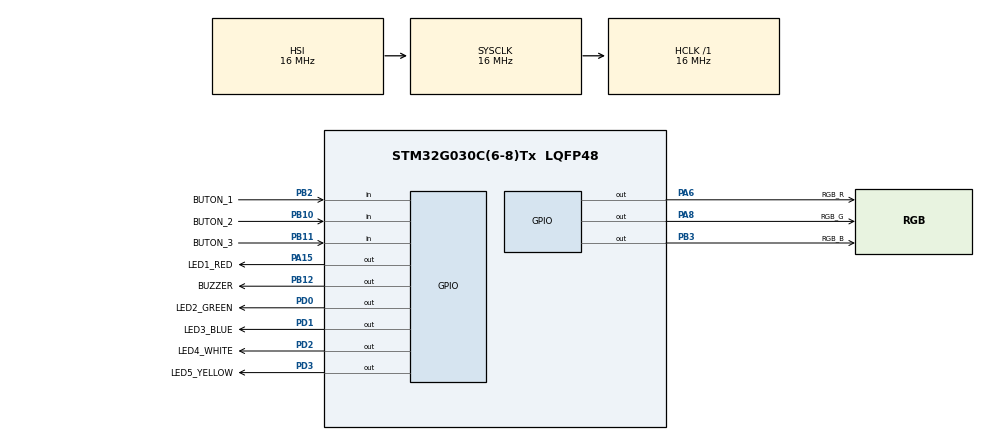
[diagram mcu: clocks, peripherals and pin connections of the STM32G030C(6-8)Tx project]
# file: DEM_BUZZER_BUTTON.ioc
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Mcu.Family=STM32G0
Mcu.Name=STM32G030C(6-8)Tx
Mcu.Package=LQFP48
PA13.Mode=Serial_Wire
PA13.Signal=SYS_SWDIO
PA14-BOOT0.Mode=Serial_Wire
PA14-BOOT0.Signal=SYS_SWCLK
PA15.GPIO_Label=LED1_RED
PA15.Signal=GPIO_Output
PA6.GPIO_Label=RGB_R
PA6.Signal=GPIO_Output
PA8.GPIO_Label=RGB_G
PA8.Signal=GPIO_Output
PB10.GPIO_Label=BUTON_2
PB10.Signal=GPIO_Input
PB11.GPIO_Label=BUTON_3
PB11.Signal=GPIO_Input
PB12.GPIO_Label=BUZZER
PB12.Signal=GPIO_Output
PB2.GPIO_Label=BUTON_1
PB2.Signal=GPIO_Input
PB3.GPIO_Label=RGB_B
PB3.Signal=GPIO_Output
PC14-OSC32_IN\ (PC14).Mode=LSE-External-Oscillator
PC14-OSC32_IN\ (PC14).Signal=RCC_OSC32_IN
PC15-OSC32_OUT\ (PC15).Mode=LSE-External-Oscillator
PC15-OSC32_OUT\ (PC15).Signal=RCC_OSC32_OUT
PD0.GPIO_Label=LED2_GREEN
PD0.Signal=GPIO_Output
PD1.GPIO_Label=LED3_BLUE
PD1.Signal=GPIO_Output
PD2.GPIO_Label=LED4_WHITE
PD2.Signal=GPIO_Output
PD3.GPIO_Label=LED5_YELLOW
PD3.Signal=GPIO_Output
ProjectManager.HeapSize=0x200
ProjectManager.StackSize=0x400
ProjectManager.TargetToolchain=STM32CubeIDE
RCC.AHBFreq_Value=16000000
RCC.CortexFreq_Value=16000000
RCC.EXTERNAL_CLOCK_VALUE=12288000
RCC.HCLKFreq_Value=16000000
RCC.HSE_VALUE=8000000
RCC.HSI_VALUE=16000000
RCC.SYSCLKFreq_VALUE=16000000
RCC.VCOOutputFreq_Value=128000000
VP_RTC_VS_RTC_Activate.Mode=RTC_Enabled
board=custom

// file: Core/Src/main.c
/* USER CODE BEGIN Header */
/**
  ******************************************************************************
  * @file           : main.c
  * @brief          : Main program body
  ******************************************************************************
  * @attention
  *
  * Copyright (c) 2025 STMicroelectronics.
  * All rights reserved.
  *
  * This software is licensed under terms that can be found in the LICENSE file
  * in the root directory of this software component.
  * If no LICENSE file comes with this software, it is provided AS-IS.
  *
  ******************************************************************************
  */
/* USER CODE END Header */
#include "main.h"
#include "DigitalInputOutputs.h"

/* USER CODE BEGIN PTD */
uint8_t counter = 0;
uint8_t rgbcounter = 0;
/* USER CODE END PTD */

RTC_HandleTypeDef hrtc;

/* USER CODE BEGIN PV */
volatile uint64_t SYSTickTimer = 0;
SystemClockTimer_t SysClkTim;  // Gerçek tanımlama burada!
/* USER CODE END PV */

void SystemClock_Config(void);
static void MX_GPIO_Init(void);
static void MX_RTC_Init(void);

int main(void)
{

  /* MCU Configuration--------------------------------------------------------*/

  /* Reset of all peripherals, Initializes the Flash interface and the Systick. */
  HAL_Init();

  /* Configure the system clock */
  SystemClock_Config();

  /* Initialize all configured peripherals */
  MX_GPIO_Init();
  MX_RTC_Init();
  /* USER CODE BEGIN 2 */
  RGB_LED_Control(Active, Passive, Passive);
  LED_Control(Active, Passive, Passive, Passive, Passive);
  Buzzer_Control(Active);
  HAL_Delay(500);
  RGB_LED_Control(Passive, Active, Passive);
  LED_Control(Active, Active, Passive, Passive, Passive);
  Buzzer_Control(Passive);
  HAL_Delay(500);
  RGB_LED_Control(Passive, Passive, Active);
  LED_Control(Active, Active, Active, Passive, Passive);
  Buzzer_Control(Active);
  HAL_Delay(500);
  RGB_LED_Control(Active, Active, Active);
  LED_Control(Active, Active, Active, Active, Passive);
  Buzzer_Control(Passive);
  HAL_Delay(500);
  LED_Control(Active, Active, Active, Active, Active);
  /* USER CODE END 2 */

  /* Infinite loop */
  /* USER CODE BEGIN WHILE */
  while (1)
  {
		if (HAL_GPIO_ReadPin(BUTON_1_GPIO_Port, BUTON_1_Pin) == 1)
				HAL_GPIO_WritePin(LED1_RED_GPIO_Port, LED1_RED_Pin, 0);
			else
				HAL_GPIO_WritePin(LED1_RED_GPIO_Port, LED1_RED_Pin, 1);

			if (HAL_GPIO_ReadPin(BUTON_2_GPIO_Port, BUTON_2_Pin) == 1)
				HAL_GPIO_WritePin(LED2_GREEN_GPIO_Port, LED2_GREEN_Pin, 0);
			else
				HAL_GPIO_WritePin(LED2_GREEN_GPIO_Port, LED2_GREEN_Pin, 1);

			if (HAL_GPIO_ReadPin(BUTON_3_GPIO_Port, BUTON_3_Pin) == 1)
				HAL_GPIO_WritePin(LED3_BLUE_GPIO_Port, LED3_BLUE_Pin, 0);
			else
				HAL_GPIO_WritePin(LED3_BLUE_GPIO_Port, LED3_BLUE_Pin, 1);

			if (SysClkTim._1000sn == 1) {
				if (rgbcounter > 4) {
					rgbcounter = 0;
				}
				switch (rgbcounter) {
				case 0:
					HAL_GPIO_WritePin(RGB_R_GPIO_Port, RGB_R_Pin, 1);
					HAL_GPIO_WritePin(RGB_G_GPIO_Port, RGB_G_Pin, 0);
					HAL_GPIO_WritePin(RGB_B_GPIO_Port, RGB_B_Pin, 0);
					break;
				case 1:
					HAL_GPIO_WritePin(RGB_R_GPIO_Port, RGB_R_Pin, 0);
					HAL_GPIO_WritePin(RGB_G_GPIO_Port, RGB_G_Pin, 1);
					HAL_GPIO_WritePin(RGB_B_GPIO_Port, RGB_B_Pin, 0);
					break;
				case 2:
					HAL_GPIO_WritePin(RGB_R_GPIO_Port, RGB_R_Pin, 0);
					HAL_GPIO_WritePin(RGB_G_GPIO_Port, RGB_G_Pin, 0);
					HAL_GPIO_WritePin(RGB_B_GPIO_Port, RGB_B_Pin, 1);
					break;
				case 3:
					HAL_GPIO_WritePin(RGB_R_GPIO_Port, RGB_R_Pin, 1);
					HAL_GPIO_WritePin(RGB_G_GPIO_Port, RGB_G_Pin, 1);
					HAL_GPIO_WritePin(RGB_B_GPIO_Port, RGB_B_Pin, 1);
					break;
				case 4:
					HAL_GPIO_WritePin(RGB_R_GPIO_Port, RGB_R_Pin, 0);
					HAL_GPIO_WritePin(RGB_G_GPIO_Port, RGB_G_Pin, 0);
					HAL_GPIO_WritePin(RGB_B_GPIO_Port, RGB_B_Pin, 0);
					break;
				}

				rgbcounter++;

				SysClkTim._1000sn = 0;
			}
    /* USER CODE END WHILE */

  }
}

void SystemClock_Config(void)
{
  RCC_OscInitTypeDef RCC_OscInitStruct = {0};
  RCC_ClkInitTypeDef RCC_ClkInitStruct = {0};

  /** Configure the main internal regulator output voltage
  */
  HAL_PWREx_ControlVoltageScaling(PWR_REGULATOR_VOLTAGE_SCALE1);

  /** Initializes the RCC Oscillators according to the specified parameters
  * in the RCC_OscInitTypeDef structure.
  */
  RCC_OscInitStruct.OscillatorType = RCC_OSCILLATORTYPE_HSI|RCC_OSCILLATORTYPE_LSI;
  RCC_OscInitStruct.HSIState = RCC_HSI_ON;
  RCC_OscInitStruct.HSIDiv = RCC_HSI_DIV1;
  RCC_OscInitStruct.HSICalibrationValue = RCC_HSICALIBRATION_DEFAULT;
  RCC_OscInitStruct.LSIState = RCC_LSI_ON;
  RCC_OscInitStruct.PLL.PLLState = RCC_PLL_NONE;
  if (HAL_RCC_OscConfig(&RCC_OscInitStruct) != HAL_OK)
  {
    Error_Handler();
  }

  /** Initializes the CPU, AHB and APB buses clocks
  */
  RCC_ClkInitStruct.ClockType = RCC_CLOCKTYPE_HCLK|RCC_CLOCKTYPE_SYSCLK
                              |RCC_CLOCKTYPE_PCLK1;
  RCC_ClkInitStruct.SYSCLKSource = RCC_SYSCLKSOURCE_HSI;
  RCC_ClkInitStruct.AHBCLKDivider = RCC_SYSCLK_DIV1;
  RCC_ClkInitStruct.APB1CLKDivider = RCC_HCLK_DIV1;

  if (HAL_RCC_ClockConfig(&RCC_ClkInitStruct, FLASH_LATENCY_0) != HAL_OK)
  {
    Error_Handler();
  }
}

static void MX_RTC_Init(void)
{

  /** Initialize RTC Only
  */
  hrtc.Instance = RTC;
  hrtc.Init.HourFormat = RTC_HOURFORMAT_24;
  hrtc.Init.AsynchPrediv = 127;
  hrtc.Init.SynchPrediv = 255;
  hrtc.Init.OutPut = RTC_OUTPUT_DISABLE;
  hrtc.Init.OutPutRemap = RTC_OUTPUT_REMAP_NONE;
  hrtc.Init.OutPutPolarity = RTC_OUTPUT_POLARITY_HIGH;
  hrtc.Init.OutPutType = RTC_OUTPUT_TYPE_OPENDRAIN;
  hrtc.Init.OutPutPullUp = RTC_OUTPUT_PULLUP_NONE;
  if (HAL_RTC_Init(&hrtc) != HAL_OK)
  {
    Error_Handler();
  }

}

static void MX_GPIO_Init(void)
{
  GPIO_InitTypeDef GPIO_InitStruct = {0};

  /* GPIO Ports Clock Enable */
  __HAL_RCC_GPIOC_CLK_ENABLE();
  __HAL_RCC_GPIOA_CLK_ENABLE();
  __HAL_RCC_GPIOB_CLK_ENABLE();
  __HAL_RCC_GPIOD_CLK_ENABLE();

  /*Configure GPIO pin Output Level */
  HAL_GPIO_WritePin(GPIOA, RGB_R_Pin|RGB_G_Pin|LED1_RED_Pin, GPIO_PIN_RESET);

  /*Configure GPIO pin Output Level */
  HAL_GPIO_WritePin(GPIOB, BUZZER_Pin|RGB_B_Pin, GPIO_PIN_RESET);

  /*Configure GPIO pin Output Level */
  HAL_GPIO_WritePin(GPIOD, LED2_GREEN_Pin|LED3_BLUE_Pin|LED4_WHITE_Pin|LED5_YELLOW_Pin, GPIO_PIN_RESET);

  /*Configure GPIO pins : RGB_R_Pin RGB_G_Pin LED1_RED_Pin */
  GPIO_InitStruct.Pin = RGB_R_Pin|RGB_G_Pin|LED1_RED_Pin;
  GPIO_InitStruct.Mode = GPIO_MODE_OUTPUT_PP;
  GPIO_InitStruct.Pull = GPIO_NOPULL;
  GPIO_InitStruct.Speed = GPIO_SPEED_FREQ_LOW;
  HAL_GPIO_Init(GPIOA, &GPIO_InitStruct);

  /*Configure GPIO pins : BUTON_1_Pin BUTON_2_Pin BUTON_3_Pin */
  GPIO_InitStruct.Pin = BUTON_1_Pin|BUTON_2_Pin|BUTON_3_Pin;
  GPIO_InitStruct.Mode = GPIO_MODE_INPUT;
  GPIO_InitStruct.Pull = GPIO_NOPULL;
  HAL_GPIO_Init(GPIOB, &GPIO_InitStruct);

  /*Configure GPIO pins : BUZZER_Pin RGB_B_Pin */
  GPIO_InitStruct.Pin = BUZZER_Pin|RGB_B_Pin;
  GPIO_InitStruct.Mode = GPIO_MODE_OUTPUT_PP;
  GPIO_InitStruct.Pull = GPIO_NOPULL;
  GPIO_InitStruct.Speed = GPIO_SPEED_FREQ_LOW;
  HAL_GPIO_Init(GPIOB, &GPIO_InitStruct);

  /*Configure GPIO pins : LED2_GREEN_Pin LED3_BLUE_Pin LED4_WHITE_Pin LED5_YELLOW_Pin */
  GPIO_InitStruct.Pin = LED2_GREEN_Pin|LED3_BLUE_Pin|LED4_WHITE_Pin|LED5_YELLOW_Pin;
  GPIO_InitStruct.Mode = GPIO_MODE_OUTPUT_PP;
  GPIO_InitStruct.Pull = GPIO_NOPULL;
  GPIO_InitStruct.Speed = GPIO_SPEED_FREQ_LOW;
  HAL_GPIO_Init(GPIOD, &GPIO_InitStruct);

}

/* USER CODE BEGIN 4 */
void HAL_SYSTICK_Callback(void) {
SYSTickTimer++;

if (SYSTickTimer % 1 == 0) {
SysClkTim._1msn = 1;
}
if (SYSTickTimer % 10 == 0) {
SysClkTim._10msn = 1;
}
if (SYSTickTimer % 50 == 0) {
SysClkTim._50msn = 1;
}
if (SYSTickTimer % 100 == 0) {
SysClkTim._100msn = 1;
}
if (SYSTickTimer % 250 == 0) {
SysClkTim._250msn = 1;
}
if (SYSTickTimer % 500 == 0) {
SysClkTim._500msn = 1;
}
if (SYSTickTimer % 1000 == 0) {
SysClkTim._1000sn = 1;
}
if (SYSTickTimer % 2000 == 0) {
SysClkTim._2000sn = 1;
}
if (SYSTickTimer % 5000 == 0) {
SysClkTim._5000sn = 1;
}
}
/* USER CODE END 4 */

void Error_Handler(void)
{
  __disable_irq();
  while (1)
  {
  }
}
